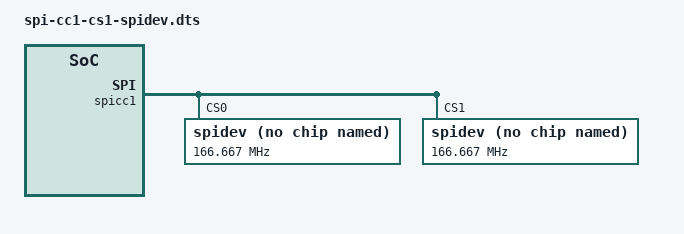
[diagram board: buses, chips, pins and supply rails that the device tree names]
/*
 * Copyright (c) 2023 Da Xue
 * Author: Da Xue <da@libre.computer>
 *
 * SPDX-License-Identifier: (GPL-2.0+ OR MIT)
 */

/dts-v1/;
/plugin/;

#include <dt-bindings/gpio/gpio.h>
#include <dt-bindings/gpio/meson-g12a-gpio.h>

/ {
	compatible = "libretech,aml-s905d3-cc";

	fragment@0 {
		target = <&spicc1>;
		
		__overlay__ {
			spidev@0 {
				compatible = "rohm,dh2228fv";
				reg = <0>;
				spi-max-frequency = <166666666>;
			};
			spidev@1 {
				compatible = "rohm,dh2228fv";
				reg = <1>;
				spi-max-frequency = <166666666>;
			};
		};
	};
};
